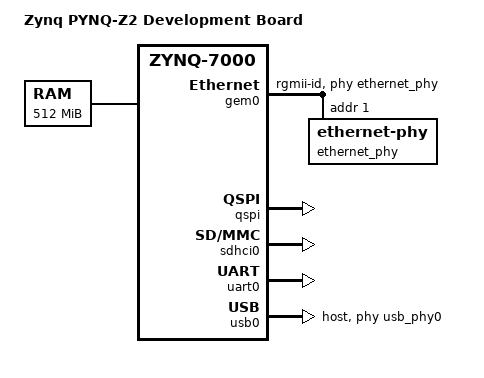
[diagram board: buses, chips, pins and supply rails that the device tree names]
/*
 * TUL Pynq-Z2 board DTS
 */
/dts-v1/;
#include "zynq-7000.dtsi"

/ {
    model = "Zynq PYNQ-Z2 Development Board";
    compatible = "digilent,zynq-artyz", "xlnx,zynq-7000";

    aliases {
        ethernet0 = &gem0;
        serial0 = &uart0;
        spi0 = &qspi;
        mmc0 = &sdhci0;
    };

    memory {
        device_type = "memory";
        reg = <0x0 0x20000000>;
    };
    
    socdp8_console {
        compatible = "socdp8,console";
        reg = <0x43C10000 0x1000>;
    };

    socdp8_core {
        compatible = "socdp8,core";
        reg = <0x43C20000 0x2000>;
    };

    socdp8_io {
        compatible = "socdp8,io";
        reg = <0x43C00000 0x1000>;
    };

    chosen {
        bootargs = "";
        stdout-path = "serial0:115200n8";
    };

    usb_phy0: phy0 {
        compatible = "ulpi-phy";
        #phy-cells = <0>;
        reg = <0xe0002000 0x1000>;
        view-port = <0x170>;
        drv-vbus;
    };
};

&clkc {
    ps-clk-frequency = <50000000>;
};

&gem0 {
    status = "okay";
    phy-mode = "rgmii-id";
    phy-handle = <&ethernet_phy>;

    ethernet_phy: ethernet-phy@0 { /* rtl8211e-vl */
        reg = <1>;
    };
};

&qspi {
    u-boot,dm-pre-reloc;
    status = "okay";
};

&sdhci0 {
    u-boot,dm-pre-reloc;
    status = "okay";
};

&uart0 {
    u-boot,dm-pre-reloc;
    status = "okay";
};

&usb0 {
    status = "okay";
    dr_mode = "host";
    usb-phy = <&usb_phy0>;
};
